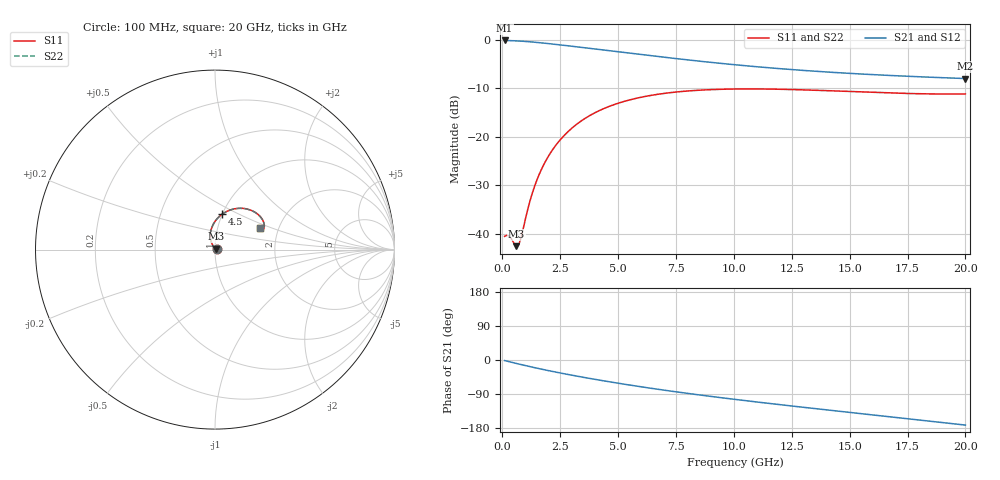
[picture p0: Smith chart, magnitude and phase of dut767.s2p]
! Touchstone file exported from HFSS 2024.1.0
!  File:  C:/UserFiles/LocalFiles/RDL_TSV_Batchsim/temp_RDL_TSV_767_1779901813.aedt
!  Generated:  01:24:59 AM May 28, 2026
!  Design:  RDL_TSV
!  Project:  temp_RDL_TSV_767_1779901813
!  Setup:  Setup1
!  Solution:  Sweep
! Variables:
!  dtsv = 7.95um
!  hbump = 3um
!  htsv = 61.86um
!  ldown = 188.38um
!  lrdl = 503.95um
!  p = 40
!  p1 = 57.67um
!  rhole = 10um
!  subl = 2580.94um
!  t = 450um
!  tdown = 3.03um
!  trdl = 4.38um
!  viad = 10um
!  wdown = 29.73um
!  wrdl = 28.07um
!  xbump = 18um
# GHz S MA R 50.000000
! Terminal data exported
! Port[1] = TM1_1_T1
! Port[2] = TM1_4_T1
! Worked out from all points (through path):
!   200 points, 100 MHz to 20 GHz, reference 50 ohm
!   highest |S21| = -0.08 dB at 100 MHz (marker M1); lowest = -8.0 dB at 20 GHz (marker M2)
!   group delay of S21, straight-line fit = 22.5 ps
!   lowest |S11| = -42.6 dB at 600 MHz (marker M3), VSWR 1.02, Z = 50.5 + j0.563 ohm
!   |S11| at or under -10 dB: start of sweep to end of sweep
!   |S22| runs from -42.6 to -10.1 dB; largest |S21 - S12| = 2e-14
!   S11 on the Smith chart (normalised r, x): 100 MHz: 1.02, +0.00; 4.5 GHz: 1.00, +0.41; 20 GHz: 1.61, +0.41
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0.1  0.009404 8.2  0.9903 -1.6  0.9903 -1.6  0.009404 8.2
! Gamma 0 0 0 0
! Port Impedance 50 0 50 0
0.3  0.009437 17.7  0.9873 -4.6  0.9873 -4.6  0.009438 17.7
0.6  0.007445 48.4  0.9806 -9.0  0.9806 -9.0  0.007448 48.4
0.7  0.007618 67.5  0.9777 -10.4  0.9777 -10.4  0.007617 67.4
0.8  0.008876 85.6  0.9745 -11.9  0.9745 -11.9  0.00887 85.5
1.1  0.0179 112.3  0.9631 -16.1  0.9631 -16.1  0.01787 112.3
1.3  0.02643 116.7  0.9543 -18.9  0.9543 -18.9  0.02639 116.7
1.5  0.03614 117.3  0.9448 -21.6  0.9448 -21.6  0.0361 117.3
1.8  0.05223 115.2  0.9294 -25.5  0.9294 -25.5  0.05217 115.1
2.1  0.06946 111.5  0.9133 -29.4  0.9133 -29.4  0.06938 111.5
2.5  0.09324 105.9  0.8913 -34.2  0.8913 -34.2  0.09313 105.8
3  0.1229 98.5  0.8635 -40.1  0.8635 -40.1  0.1227 98.5
3.5  0.1512 91.5  0.836 -45.7  0.836 -45.7  0.1511 91.4
4.5  0.2014 78.7  0.7828 -56.2  0.7828 -56.2  0.2011 78.6
5.6  0.2444 66.7  0.7278 -67.0  0.7278 -67.0  0.2441 66.7
6.8  0.2773 55.9  0.6729 -78.0  0.6729 -78.0  0.277 55.9
8.4  0.3025 44.6  0.6093 -91.3  0.6093 -91.3  0.3021 44.6
10.1  0.3124 35.6  0.5542 -104.3  0.5542 -104.3  0.3119 35.6
11.7  0.3113 29.5  0.5129 -115.8  0.5129 -115.8  0.3108 29.5
13.4  0.3038 25.2  0.4784 -127.5  0.4784 -127.5  0.3033 25.2
16.7  0.2844 22.4  0.4313 -149.6  0.4313 -149.6  0.2839 22.4
20  0.2776 25.2  0.4003 -171.7  0.4003 -171.7  0.2773 25.3
